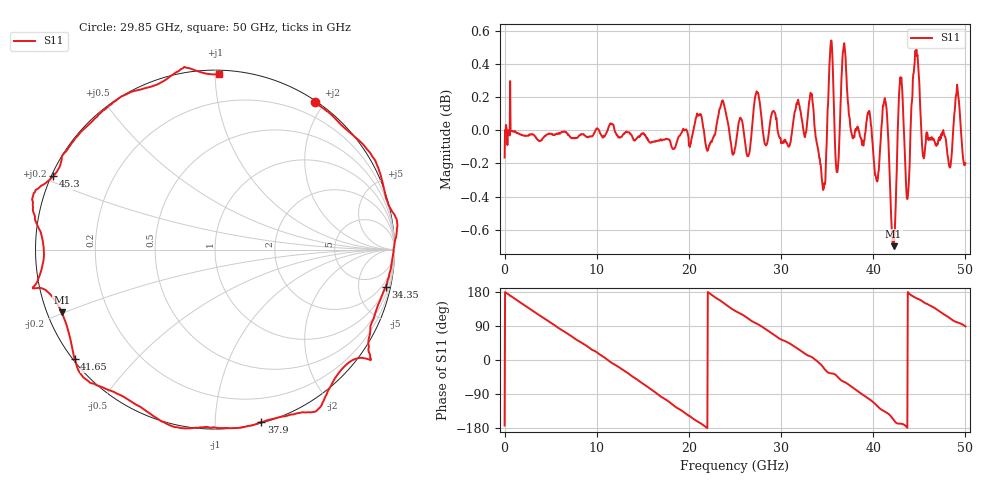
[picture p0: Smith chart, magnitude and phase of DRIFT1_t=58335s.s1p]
!Created with skrf (http://scikit-rf.org).
# Hz S RI R 50.0
!freq ReS11 ImS11
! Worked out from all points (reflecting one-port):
!   1001 points, 300 kHz to 50 GHz, reference 50 ohm
!   lowest |S11| = -0.7 dB at 42.2 GHz (marker M1), VSWR 24.85, Z = 2.09 - j9.83 ohm
!   phase of S11 starts at -173 deg and turns -818 deg over the sweep
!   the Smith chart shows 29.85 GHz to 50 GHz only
!   S11 on the Smith chart (normalised r, x): 29.85 GHz: 0.01, +1.88; 34.35 GHz: 1.15, -9.04; 37.9 GHz: 0.01, -1.30; 41.65 GHz: 0.00, -0.34; 45.3 GHz: 0.01, +0.22; 50 GHz: 0.02, +1.02
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300000  -0.9738 -0.1203
1.450291e9  -0.9124 0.4042
3.25028e9  -0.5927 0.8006
6.250262e9  0.1999 0.9788
9.500243e9  0.8896 0.4474
1.250022e10  0.9313 -0.3497
1.580021e10  0.2411 -0.9616
1.74002e10  -0.2219 -0.9685
1.875019e10  -0.5976 -0.7934
2.155017e10  -0.9908 -0.1468
2.345016e10  -0.9297 0.4123
2.500015e10  -0.6321 0.759
2.740014e10  -0.096 1.022
2.985012e10  0.5572 0.8238
3.125011e10  0.7827 0.626
3.31501e10  1.009 0.1751
3.435009e10  0.9501 -0.2094
3.520009e10  0.8606 -0.5778
3.750008e10  0.3773 -0.9295
3.790007e10  0.2586 -0.9614
3.960006e10  -0.2372 -0.9848
4.165005e10  -0.782 -0.6099
4.220005e10  -0.8537 -0.3498
4.290004e10  -1.011 -0.215
4.375004e10  -0.9546 0.0116
4.530003e10  -0.9015 0.4079
4.765001e10  -0.5096 0.858
5e10  0.0195 0.9772
